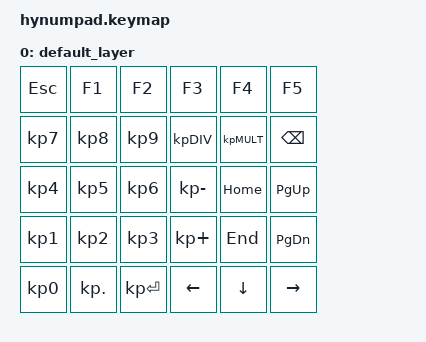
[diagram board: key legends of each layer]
#include <behaviors.dtsi>
#include <dt-bindings/zmk/keys.h>

/ {
    keymap {
        compatible = "zmk,keymap";

        default_layer {
            bindings = <
                &kp ESC   &kp F1    &kp F2    &kp F3    &kp F4    &kp F5
                &kp KP_N7 &kp KP_N8 &kp KP_N9 &kp KP_DIV &kp KP_MULT &kp BSPC
                &kp KP_N4 &kp KP_N5 &kp KP_N6 &kp KP_MINUS &kp HOME &kp PG_UP
                &kp KP_N1 &kp KP_N2 &kp KP_N3 &kp KP_PLUS &kp END &kp PG_DN
                &kp KP_N0 &kp KP_DOT &kp KP_ENTER &kp LEFT &kp DOWN &kp RIGHT
            >;
        };
    };
};
